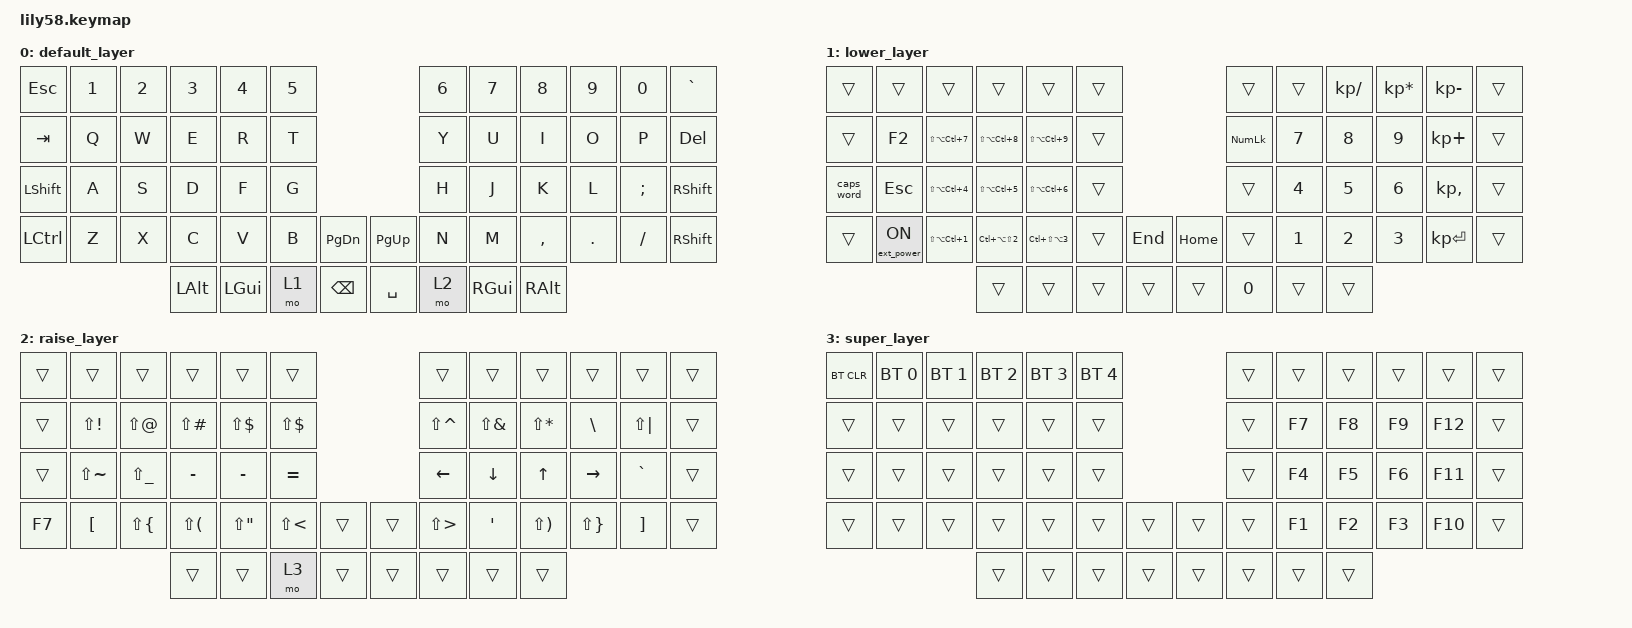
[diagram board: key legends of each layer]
/*
 * Copyright (c) 2020 The ZMK Contributors
 *
 * SPDX-License-Identifier: MIT
 */

#include <behaviors.dtsi>
#include <dt-bindings/zmk/bt.h>
#include <dt-bindings/zmk/ext_power.h>
#include <dt-bindings/zmk/keys.h>

/ {
    keymap {
        compatible = "zmk,keymap";

        default_layer {
            // ------------------------------------------------------------------------------------------------------------
            // |  ESC  |  1  |  2  |  3   |  4   |  5   |                   |  6   |  7    |  8    |  9   |   0   |   `   |
            // |  TAB  |  Q  |  W  |  E   |  R   |  T   |                   |  Y   |  U    |  I    |  O   |   P   |   -   |
            // |  CTRL |  A  |  S  |  D   |  F   |  G   |                   |  H   |  J    |  K    |  L   |   ;   |   '   |
            // | SHIFT |  Z  |  X  |  C   |  V   |  B   |   "["  |  |  "]"  |  N   |  M    |  ,    |  .   |   /   | SHIFT |
            //                     | ALT  | GUI  | LOWER|  SPACE |  | ENTER | RAISE| BSPC  | GUI   |

            bindings = <
&kp ESC    &kp N1  &kp N2  &kp N3    &kp N4    &kp N5                          &kp N6  &kp N7    &kp N8     &kp N9   &kp N0    &kp GRAVE
&kp TAB    &kp Q   &kp W   &kp E     &kp R     &kp T                           &kp Y   &kp U     &kp I      &kp O    &kp P     &kp DEL
&kp LSHFT  &kp A   &kp S   &kp D     &kp F     &kp G                           &kp H   &kp J     &kp K      &kp L    &kp SEMI  &kp RSHFT
&kp LCTRL  &kp Z   &kp X   &kp C     &kp V     &kp B   &kp PG_DN    &kp PG_UP  &kp N   &kp M     &kp COMMA  &kp DOT  &kp FSLH  &kp RSHFT
                           &kp LALT  &kp LGUI  &mo 1   &kp BSPC     &kp SPACE  &mo 2   &kp RGUI  &kp RALT
            >;
        };

        lower_layer {
            // ------------------------------------------------------------------------------------------------------------
            // | BTCLR | BT1 | BT2 |  BT3 |  BT4 |  BT5 |                   |      |       |       |      |       |       |
            // |  F1   |  F2 |  F3 |  F4  |  F5  |  F6  |                   |  F7  |  F8   |  F9   |  F10 |  F11  |  F12  |
            // |   `   |  !  |  @  |  #   |  $   |  %   |                   |  ^   |  &    |  *    |  (   |   )   |   ~   |
            // |       |     |     |      |      |      |        |  |       |      |  _    |  +    |  {   |   }   |  "|"  |
            //                     |      |      |      |        |  |       |      |       |       |

            bindings = <
&trans      &trans            &trans              &trans              &trans              &trans                       &trans          &trans  &kp KP_DIVIDE  &kp KP_ASTERISK  &kp KP_SUBTRACT  &trans
&trans      &kp F2            &kp LS(LA(LC(N7)))  &kp LS(LA(LC(N8)))  &kp LS(LA(LC(N9)))  &trans                       &kp KP_NUMLOCK  &kp N7  &kp N8         &kp N9           &kp KP_PLUS      &trans
&caps_word  &kp ESC           &kp LS(LA(LC(N4)))  &kp LS(LA(LC(N5)))  &kp LS(LA(LC(N6)))  &trans                       &trans          &kp N4  &kp N5         &kp N6           &kp KP_COMMA     &trans
&trans      &ext_power EP_ON  &kp LS(LA(LC(N1)))  &kp LC(LA(LS(N2)))  &kp LC(LS(LA(N3)))  &trans  &kp END    &kp HOME  &trans          &kp N1  &kp N2         &kp N3           &kp KP_ENTER     &trans
                                                  &trans              &trans              &trans  &trans     &trans    &kp N0          &trans  &trans
            >;
        };

        raise_layer {
            // ------------------------------------------------------------------------------------------------------------
            // |       |     |     |      |      |      |                   |      |       |       |      |       |       |
            // |   `   |  1  |  2  |  3   |  4   |  5   |                   |  6   |   7   |   8   |  9   |   0   |       |
            // |   F1  |  F2 |  F3 |  F4  |  F5  |  F6  |                   |      |   <-  |   v   |  ^   |  ->   |       |
            // |   F7  |  F8 |  F9 |  F10 |  F11 |  F12 |        |  |       |  +   |   -   |   =   |  [   |   ]   |   \   |
            //                     |      |      |      |        |  |       |      |       |       |

            bindings = <
&trans  &trans         &trans         &trans         &trans        &trans                          &trans         &trans        &trans        &trans        &trans        &trans
&trans  &kp LS(EXCL)   &kp LS(AT)     &kp LS(POUND)  &kp LS(DLLR)  &kp LS(DLLR)                    &kp LS(CARET)  &kp LS(AMPS)  &kp LS(STAR)  &kp BSLH      &kp LS(PIPE)  &trans
&trans  &kp LS(TILDE)  &kp LS(UNDER)  &kp MINUS      &kp MINUS     &kp EQUAL                       &kp LEFT       &kp DOWN      &kp UP        &kp RIGHT     &kp GRAVE     &trans
&kp F7  &kp LBKT       &kp LS(LBRC)   &kp LS(LPAR)   &kp LS(DQT)   &kp LS(LT)    &trans    &trans  &kp LS(GT)     &kp SQT       &kp LS(RPAR)  &kp LS(RBRC)  &kp RBKT      &trans
                                      &trans         &trans        &mo 3         &trans    &trans  &trans         &trans        &trans
            >;
        };

        super_layer {
            bindings = <
&bt BT_CLR  &bt BT_SEL 0  &bt BT_SEL 1  &bt BT_SEL 2  &bt BT_SEL 3  &bt BT_SEL 4                    &trans  &trans  &trans  &trans  &trans   &trans
&trans      &trans        &trans        &trans        &trans        &trans                          &trans  &kp F7  &kp F8  &kp F9  &kp F12  &trans
&trans      &trans        &trans        &trans        &trans        &trans                          &trans  &kp F4  &kp F5  &kp F6  &kp F11  &trans
&trans      &trans        &trans        &trans        &trans        &trans        &trans    &trans  &trans  &kp F1  &kp F2  &kp F3  &kp F10  &trans
                                        &trans        &trans        &trans        &trans    &trans  &trans  &trans  &trans
            >;
        };
    };
};
